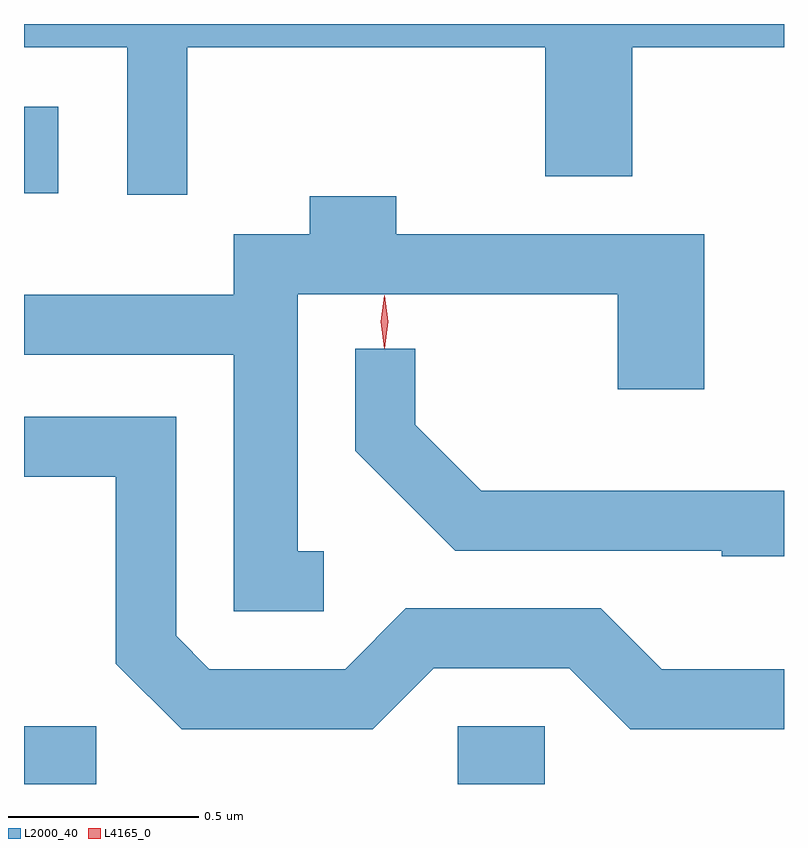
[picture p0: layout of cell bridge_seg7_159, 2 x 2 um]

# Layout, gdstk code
import gdstk
lib = gdstk.Library(unit=1e-6, precision=1e-09)
def R(c, l, rs):  # rectangles x0, y0, x1, y1
    for r in rs: c.add(gdstk.rectangle(r[:2], r[2:], *l))
def P(c, l, *ps):  # polygons
    for p in ps: c.add(gdstk.Polygon(p, *l))
L2000_40 = (2000, 40)
L4165_0 = (4165, 0)

bridge_seg7_159 = lib.new_cell('bridge_seg7_159')
R(bridge_seg7_159, L2000_40, [(1611.439,1732.357,1611.629,1732.509), (1612.581,1732.357,1612.809,1732.509), (1611.439,1733.911,1611.529,1734.139)])
P(bridge_seg7_159, L2000_40, [(1611.869,1734.296),(1612.811,1734.296),(1612.811,1733.956),(1613.039,1733.956),(1613.039,1734.296),(1613.439,1734.296),(1613.439,1734.357),(1611.439,1734.357),(1611.439,1734.296),(1611.711,1734.296),(1611.711,1733.908),(1611.869,1733.908)],
  [(1612.228,1732.969),(1612.159,1732.969),(1612.159,1733.646),(1613.001,1733.646),(1613.001,1733.396),(1613.229,1733.396),(1613.229,1733.804),(1612.419,1733.804),(1612.419,1733.904),(1612.191,1733.904),(1612.191,1733.804),(1611.991,1733.804),(1611.991,1733.644),(1611.439,1733.644),(1611.439,1733.486),(1611.991,1733.486),(1611.991,1732.811),(1612.228,1732.811)],
  [(1613.439,1733.129),(1612.642,1733.129),(1612.469,1733.302),(1612.469,1733.503),(1612.311,1733.503),(1612.311,1733.234),(1612.574,1732.971),(1613.275,1732.971),(1613.275,1732.956),(1613.439,1732.956)],
  [(1612.517,1732.661),(1612.874,1732.661),(1613.034,1732.501),(1613.439,1732.501),(1613.439,1732.659),(1613.117,1732.659),(1612.957,1732.819),(1612.444,1732.819),(1612.284,1732.659),(1611.927,1732.659),(1611.839,1732.747),(1611.839,1733.324),(1611.439,1733.324),(1611.439,1733.166),(1611.681,1733.166),(1611.681,1732.674),(1611.854,1732.501),(1612.357,1732.501)])
P(bridge_seg7_159, L4165_0, [(1612.388,1733.503),(1612.387,1733.504),(1612.378,1733.573),(1612.387,1733.642),(1612.388,1733.643),(1612.388,1733.642),(1612.398,1733.573),(1612.388,1733.504)])

lib.write_gds('bridge_seg7_159.gds')
